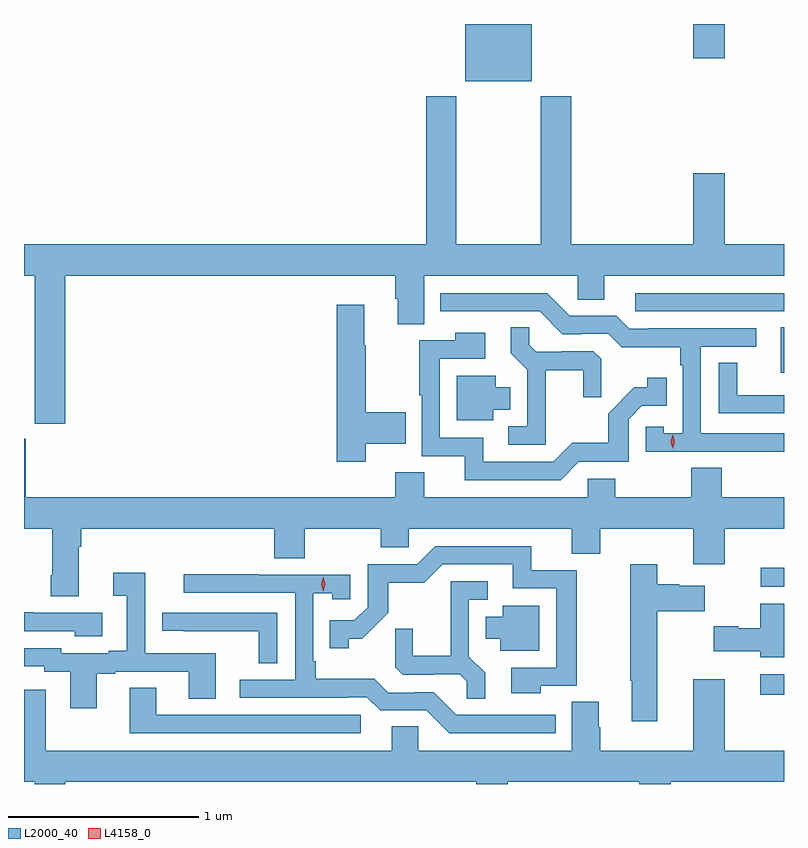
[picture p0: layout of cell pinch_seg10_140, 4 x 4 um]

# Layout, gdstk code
import gdstk
lib = gdstk.Library(unit=1e-6, precision=1e-09)
def R(c, l, rs):  # rectangles x0, y0, x1, y1
    for r in rs: c.add(gdstk.rectangle(r[:2], r[2:], *l))
def P(c, l, *ps):  # polygons
    for p in ps: c.add(gdstk.Polygon(p, *l))
L2000_40 = (2000, 40)
L4158_0 = (4158, 0)

pinch_seg10_140 = lib.new_cell('pinch_seg10_140')
R(pinch_seg10_140, L2000_40, [(692.832,1274.133,692.957,1274.241), (692.835,1274.703,692.957,1274.801), (692.939,1275.828,692.957,1276.067), (692.175,1276.152,692.957,1276.248), (691.28,1277.363,691.63,1277.664), (692.48,1277.484,692.644,1277.664)])
P(pinch_seg10_140, L2000_40, [(689.174,1276.34),(690.911,1276.34),(690.911,1276.218),(690.923,1276.218),(690.923,1276.084),(691.063,1276.084),(691.063,1276.34),(691.872,1276.34),(691.872,1276.213),(692.011,1276.213),(692.011,1276.34),(692.957,1276.34),(692.957,1276.504),(692.644,1276.504),(692.644,1276.879),(692.48,1276.879),(692.48,1276.504),(691.838,1276.504),(691.838,1277.284),(691.678,1277.284),(691.678,1276.504),(691.233,1276.504),(691.233,1277.284),(691.073,1277.284),(691.073,1276.504),(688.957,1276.504),(688.957,1276.34),(689.014,1276.34),(689.014,1275.561),(689.174,1275.561)],
  [(692.957,1275.51),(692.52,1275.51),(692.52,1275.966),(692.812,1275.966),(692.812,1276.062),(692.242,1276.062),(692.242,1276.059),(692.142,1276.059),(692.073,1276.128),(691.83,1276.128),(691.71,1276.248),(691.148,1276.248),(691.148,1276.152),(691.671,1276.152),(691.791,1276.032),(691.892,1276.032),(691.892,1276.035),(692.031,1276.035),(692.104,1275.962),(692.412,1275.962),(692.412,1275.869),(692.424,1275.869),(692.424,1275.511),(692.325,1275.511),(692.325,1275.543),(692.229,1275.543),(692.229,1275.414),(692.713,1275.414),(692.713,1275.412),(692.957,1275.412)],
  [(690.756,1275.455),(690.965,1275.455),(690.965,1275.621),(690.756,1275.621),(690.756,1275.973),(690.748,1275.973),(690.748,1276.186),(690.602,1276.186),(690.602,1275.36),(690.756,1275.36)],
  [(691.703,1275.842),(691.9,1275.842),(691.9,1275.699),(691.994,1275.699),(691.994,1275.901),(691.953,1275.942),(691.788,1275.942),(691.788,1275.939),(691.654,1275.939),(691.617,1275.976),(691.617,1276.067),(691.519,1276.067),(691.519,1275.931),(691.605,1275.845),(691.605,1275.546),(691.506,1275.546),(691.506,1275.45),(691.703,1275.45)],
  [(691.878,1275.36),(692.139,1275.36),(692.139,1275.585),(692.208,1275.654),(692.339,1275.654),(692.339,1275.802),(692.238,1275.802),(692.238,1275.752),(692.168,1275.752),(692.031,1275.614),(692.031,1275.459),(691.842,1275.459),(691.743,1275.36),(691.375,1275.36),(691.375,1275.486),(691.146,1275.486),(691.146,1275.903),(691.384,1275.903),(691.384,1276.039),(691.228,1276.039),(691.228,1275.999),(691.038,1275.999),(691.038,1275.709),(691.05,1275.709),(691.05,1275.39),(691.277,1275.39),(691.277,1275.264),(691.782,1275.264)],
  [(692.957,1275.711),(692.712,1275.711),(692.712,1275.881),(692.613,1275.881),(692.613,1275.615),(692.957,1275.615)],
  [(691.426,1275.635),(691.516,1275.635),(691.516,1275.751),(691.441,1275.751),(691.441,1275.814),(691.235,1275.814),(691.235,1275.578),(691.426,1275.578)],
  [(689.245,1274.912),(689.258,1274.912),(689.258,1275.008),(690.275,1275.008),(690.275,1274.851),(690.435,1274.851),(690.435,1275.008),(690.835,1275.008),(690.835,1274.91),(690.981,1274.91),(690.981,1275.008),(691.841,1275.008),(691.841,1274.875),(691.989,1274.875),(691.989,1275.008),(692.48,1275.008),(692.48,1274.82),(692.644,1274.82),(692.644,1275.008),(692.957,1275.008),(692.957,1275.172),(692.63,1275.172),(692.63,1275.329),(692.47,1275.329),(692.47,1275.172),(692.07,1275.172),(692.07,1275.27),(691.923,1275.27),(691.923,1275.172),(691.063,1275.172),(691.063,1275.305),(690.911,1275.305),(690.911,1275.172),(688.966,1275.172),(688.966,1275.481),(688.957,1275.481),(688.957,1275.008),(689.105,1275.008),(689.105,1274.764),(689.098,1274.764),(689.098,1274.652),(689.245,1274.652)],
  [(691.677,1274.181),(691.867,1274.181),(691.867,1274.79),(691.628,1274.79),(691.628,1274.916),(691.122,1274.916),(691.026,1274.82),(690.765,1274.82),(690.765,1274.595),(690.696,1274.526),(690.565,1274.526),(690.565,1274.379),(690.666,1274.379),(690.666,1274.429),(690.736,1274.429),(690.874,1274.566),(690.874,1274.722),(691.063,1274.722),(691.161,1274.82),(691.529,1274.82),(691.529,1274.694),(691.758,1274.694),(691.758,1274.277),(691.521,1274.277),(691.521,1274.141),(691.677,1274.141)],
  [(692.29,1274.573),(692.539,1274.573),(692.539,1274.707),(692.406,1274.707),(692.406,1274.715),(692.29,1274.715),(692.29,1274.821),(692.149,1274.821),(692.149,1274.207),(692.156,1274.207),(692.156,1273.995),(692.29,1273.995)],
  [(689.341,1274.244),(689.437,1274.244),(689.437,1274.256),(689.825,1274.256),(689.825,1274.113),(689.965,1274.113),(689.965,1274.352),(689.595,1274.352),(689.595,1274.776),(689.427,1274.776),(689.427,1274.656),(689.498,1274.656),(689.498,1274.365),(689.402,1274.365),(689.402,1274.352),(689.154,1274.352),(689.154,1274.379),(688.957,1274.379),(688.957,1274.283),(689.064,1274.283),(689.064,1274.256),(689.201,1274.256),(689.201,1274.064),(689.341,1274.064)],
  [(691.756,1274.028),(691.233,1274.028),(691.113,1274.148),(691.012,1274.148),(691.012,1274.145),(690.873,1274.145),(690.8,1274.218),(690.493,1274.218),(690.493,1274.311),(690.48,1274.311),(690.48,1274.669),(690.579,1274.669),(690.579,1274.637),(690.675,1274.637),(690.675,1274.766),(690.191,1274.766),(690.191,1274.769),(689.799,1274.769),(689.799,1274.67),(690.384,1274.67),(690.384,1274.214),(690.093,1274.214),(690.093,1274.118),(690.662,1274.118),(690.662,1274.121),(690.762,1274.121),(690.831,1274.052),(691.074,1274.052),(691.194,1273.932),(691.756,1273.932)],
  [(691.385,1274.249),(691.299,1274.335),(691.299,1274.634),(691.399,1274.634),(691.399,1274.73),(691.202,1274.73),(691.202,1274.338),(691.004,1274.338),(691.004,1274.481),(690.91,1274.481),(690.91,1274.279),(690.951,1274.238),(691.116,1274.238),(691.116,1274.241),(691.25,1274.241),(691.287,1274.204),(691.287,1274.113),(691.385,1274.113)],
  [(692.957,1274.614),(692.831,1274.614),(692.831,1274.485),(692.717,1274.485),(692.717,1274.493),(692.586,1274.493),(692.586,1274.363),(692.831,1274.363),(692.831,1274.33),(692.957,1274.33)],
  [(691.669,1274.602),(691.478,1274.602),(691.478,1274.545),(691.388,1274.545),(691.388,1274.429),(691.463,1274.429),(691.463,1274.366),(691.669,1274.366)],
  [(689.368,1274.565),(689.009,1274.565),(689.009,1274.568),(688.957,1274.568),(688.957,1274.469),(689.223,1274.469),(689.223,1274.441),(689.368,1274.441)],
  [(690.291,1274.565),(689.685,1274.565),(689.685,1274.47),(689.797,1274.47),(689.797,1274.469),(690.193,1274.469),(690.193,1274.299),(690.291,1274.299)],
  [(689.174,1273.676),(691.337,1273.676),(691.337,1273.664),(691.502,1273.664),(691.502,1273.676),(692.195,1273.676),(692.195,1273.664),(692.36,1273.664),(692.36,1273.676),(692.957,1273.676),(692.957,1273.84),(692.644,1273.84),(692.644,1274.215),(692.48,1274.215),(692.48,1273.84),(691.989,1273.84),(691.989,1273.962),(691.981,1273.962),(691.981,1274.096),(691.841,1274.096),(691.841,1273.84),(691.032,1273.84),(691.032,1273.967),(690.893,1273.967),(690.893,1273.84),(689.071,1273.84),(689.071,1274.161),(688.957,1274.161),(688.957,1273.676),(689.014,1273.676),(689.014,1273.664),(689.174,1273.664)],
  [(690.73,1274.028),(689.653,1274.028),(689.653,1274.171),(689.513,1274.171),(689.513,1273.932),(690.73,1273.932)])
P(pinch_seg10_140, L4158_0, [(692.371,1275.429),(692.371,1275.43),(692.362,1275.465),(692.372,1275.501),(692.372,1275.501),(692.372,1275.501),(692.382,1275.465),(692.372,1275.43)],
  [(690.532,1274.678),(690.531,1274.679),(690.522,1274.715),(690.531,1274.751),(690.532,1274.751),(690.532,1274.751),(690.542,1274.715),(690.532,1274.679)])

lib.write_gds('pinch_seg10_140.gds')
